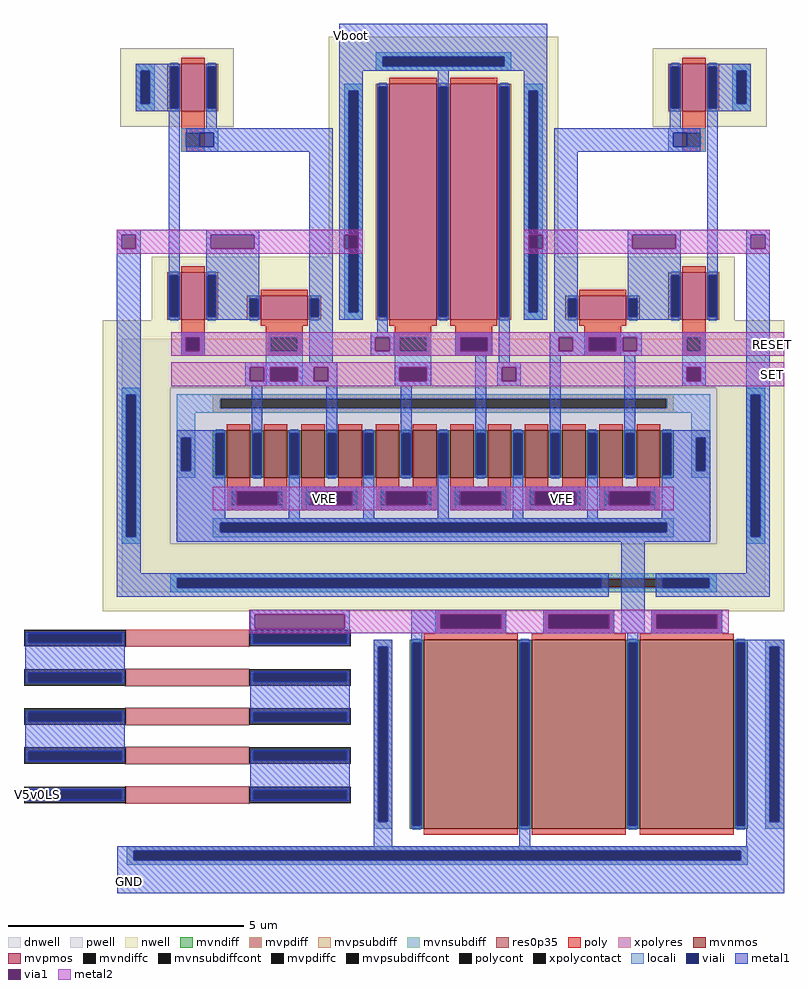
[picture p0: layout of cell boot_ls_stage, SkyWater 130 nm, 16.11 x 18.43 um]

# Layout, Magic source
magic
tech sky130A
magscale 1 2
<< dnwell >>
rect -1364 -988 1364 86
<< nwell >>
rect -1370 986 -888 1318
rect -487 434 487 1368
rect 888 986 1370 1318
rect -1236 166 1236 434
rect -1444 -120 1444 166
rect -1444 -782 -1158 -120
rect 1158 -782 1444 -120
rect -1444 -1068 1444 -782
<< pwell >>
rect -1158 -782 1158 -120
<< mvnmos >>
rect -919 -502 -819 -302
rect -761 -502 -661 -302
rect -603 -502 -503 -302
rect -445 -502 -345 -302
rect -287 -502 -187 -302
rect -129 -502 -29 -302
rect 29 -502 129 -302
rect 187 -502 287 -302
rect 345 -502 445 -302
rect 503 -502 603 -302
rect 661 -502 761 -302
rect 819 -502 919 -302
rect -84 -1990 316 -1190
rect 374 -1990 774 -1190
rect 832 -1990 1232 -1190
<< mvpmos >>
rect -1112 1052 -1012 1252
rect -1112 168 -1012 368
rect -775 168 -575 268
rect -229 168 -29 1168
rect 29 168 229 1168
rect 1012 1052 1112 1252
rect 575 168 775 268
rect 1012 168 1112 368
<< mvndiff >>
rect -977 -314 -919 -302
rect -977 -490 -965 -314
rect -931 -490 -919 -314
rect -977 -502 -919 -490
rect -819 -314 -761 -302
rect -819 -490 -807 -314
rect -773 -490 -761 -314
rect -819 -502 -761 -490
rect -661 -314 -603 -302
rect -661 -490 -649 -314
rect -615 -490 -603 -314
rect -661 -502 -603 -490
rect -503 -314 -445 -302
rect -503 -490 -491 -314
rect -457 -490 -445 -314
rect -503 -502 -445 -490
rect -345 -314 -287 -302
rect -345 -490 -333 -314
rect -299 -490 -287 -314
rect -345 -502 -287 -490
rect -187 -314 -129 -302
rect -187 -490 -175 -314
rect -141 -490 -129 -314
rect -187 -502 -129 -490
rect -29 -314 29 -302
rect -29 -490 -17 -314
rect 17 -490 29 -314
rect -29 -502 29 -490
rect 129 -314 187 -302
rect 129 -490 141 -314
rect 175 -490 187 -314
rect 129 -502 187 -490
rect 287 -314 345 -302
rect 287 -490 299 -314
rect 333 -490 345 -314
rect 287 -502 345 -490
rect 445 -314 503 -302
rect 445 -490 457 -314
rect 491 -490 503 -314
rect 445 -502 503 -490
rect 603 -314 661 -302
rect 603 -490 615 -314
rect 649 -490 661 -314
rect 603 -502 661 -490
rect 761 -314 819 -302
rect 761 -490 773 -314
rect 807 -490 819 -314
rect 761 -502 819 -490
rect 919 -314 977 -302
rect 919 -490 931 -314
rect 965 -490 977 -314
rect 919 -502 977 -490
rect -142 -1202 -84 -1190
rect -142 -1978 -130 -1202
rect -96 -1978 -84 -1202
rect -142 -1990 -84 -1978
rect 316 -1202 374 -1190
rect 316 -1978 328 -1202
rect 362 -1978 374 -1202
rect 316 -1990 374 -1978
rect 774 -1202 832 -1190
rect 774 -1978 786 -1202
rect 820 -1978 832 -1202
rect 774 -1990 832 -1978
rect 1232 -1202 1290 -1190
rect 1232 -1978 1244 -1202
rect 1278 -1978 1290 -1202
rect 1232 -1990 1290 -1978
<< mvpdiff >>
rect -1170 1240 -1112 1252
rect -1170 1064 -1158 1240
rect -1124 1064 -1112 1240
rect -1170 1052 -1112 1064
rect -1012 1240 -954 1252
rect -1012 1064 -1000 1240
rect -966 1064 -954 1240
rect 954 1240 1012 1252
rect -1012 1052 -954 1064
rect -1170 356 -1112 368
rect -1170 180 -1158 356
rect -1124 180 -1112 356
rect -1170 168 -1112 180
rect -1012 356 -954 368
rect -1012 180 -1000 356
rect -966 180 -954 356
rect -1012 168 -954 180
rect -833 256 -775 268
rect -833 180 -821 256
rect -787 180 -775 256
rect -833 168 -775 180
rect -575 256 -517 268
rect -575 180 -563 256
rect -529 180 -517 256
rect -575 168 -517 180
rect -287 1156 -229 1168
rect -287 180 -275 1156
rect -241 180 -229 1156
rect -287 168 -229 180
rect -29 1156 29 1168
rect -29 180 -17 1156
rect 17 180 29 1156
rect -29 168 29 180
rect 229 1156 287 1168
rect 229 180 241 1156
rect 275 180 287 1156
rect 229 168 287 180
rect 954 1064 966 1240
rect 1000 1064 1012 1240
rect 954 1052 1012 1064
rect 1112 1240 1170 1252
rect 1112 1064 1124 1240
rect 1158 1064 1170 1240
rect 1112 1052 1170 1064
rect 954 356 1012 368
rect 517 256 575 268
rect 517 180 529 256
rect 563 180 575 256
rect 517 168 575 180
rect 775 256 833 268
rect 775 180 787 256
rect 821 180 833 256
rect 775 168 833 180
rect 954 180 966 356
rect 1000 180 1012 356
rect 954 168 1012 180
rect 1112 356 1170 368
rect 1112 180 1124 356
rect 1158 180 1170 356
rect 1112 168 1170 180
<< mvndiffc >>
rect -965 -490 -931 -314
rect -807 -490 -773 -314
rect -649 -490 -615 -314
rect -491 -490 -457 -314
rect -333 -490 -299 -314
rect -175 -490 -141 -314
rect -17 -490 17 -314
rect 141 -490 175 -314
rect 299 -490 333 -314
rect 457 -490 491 -314
rect 615 -490 649 -314
rect 773 -490 807 -314
rect 931 -490 965 -314
rect -130 -1978 -96 -1202
rect 328 -1978 362 -1202
rect 786 -1978 820 -1202
rect 1244 -1978 1278 -1202
<< mvpdiffc >>
rect -1158 1064 -1124 1240
rect -1000 1064 -966 1240
rect -1158 180 -1124 356
rect -1000 180 -966 356
rect -821 180 -787 256
rect -563 180 -529 256
rect -275 180 -241 1156
rect -17 180 17 1156
rect 241 180 275 1156
rect 966 1064 1000 1240
rect 1124 1064 1158 1240
rect 529 180 563 256
rect 787 180 821 256
rect 966 180 1000 356
rect 1124 180 1158 356
<< mvpsubdiff >>
rect -977 -168 977 -148
rect -977 -208 -947 -168
rect 947 -208 977 -168
rect -977 -228 977 -208
rect -1131 -332 -1051 -302
rect -1131 -472 -1111 -332
rect -1071 -472 -1051 -332
rect -1131 -502 -1051 -472
rect 1051 -332 1131 -302
rect 1051 -472 1071 -332
rect 1111 -472 1131 -332
rect 1051 -502 1131 -472
rect -977 -694 977 -674
rect -977 -734 -947 -694
rect 947 -734 977 -694
rect -977 -754 977 -734
rect -296 -1220 -216 -1190
rect -296 -1960 -276 -1220
rect -236 -1960 -216 -1220
rect -296 -1990 -216 -1960
rect 1364 -1220 1444 -1190
rect 1364 -1960 1384 -1220
rect 1424 -1960 1444 -1220
rect 1364 -1990 1444 -1960
rect -1342 -2084 1290 -2064
rect -1342 -2124 -1312 -2084
rect 1260 -2124 1290 -2084
rect -1342 -2144 1290 -2124
<< mvnsubdiff >>
rect -287 1282 287 1302
rect -1304 1222 -1224 1252
rect -1304 1082 -1284 1222
rect -1244 1082 -1224 1222
rect -1304 1052 -1224 1082
rect -287 1242 -257 1282
rect 257 1242 287 1282
rect -287 1222 287 1242
rect -421 1138 -341 1168
rect -421 198 -401 1138
rect -361 198 -341 1138
rect -421 168 -341 198
rect 341 1138 421 1168
rect 341 198 361 1138
rect 401 198 421 1138
rect 1224 1222 1304 1252
rect 1224 1082 1244 1222
rect 1284 1082 1304 1222
rect 1224 1052 1304 1082
rect 341 168 421 198
rect -1364 -150 -1284 -120
rect -1364 -752 -1344 -150
rect -1304 -752 -1284 -150
rect 1284 -150 1364 -120
rect -1364 -782 -1284 -752
rect 1284 -752 1304 -150
rect 1344 -752 1364 -150
rect 1284 -782 1364 -752
rect -1158 -928 1158 -908
rect -1158 -968 -1128 -928
rect 1128 -968 1158 -928
rect -1158 -988 1158 -968
<< mvpsubdiffcont >>
rect -947 -208 947 -168
rect -1111 -472 -1071 -332
rect 1071 -472 1111 -332
rect -947 -734 947 -694
rect -276 -1960 -236 -1220
rect 1384 -1960 1424 -1220
rect -1312 -2124 1260 -2084
<< mvnsubdiffcont >>
rect -1284 1082 -1244 1222
rect -257 1242 257 1282
rect -401 198 -361 1138
rect 361 198 401 1138
rect 1244 1082 1284 1222
rect -1344 -752 -1304 -150
rect 1304 -752 1344 -150
rect -1128 -968 1128 -928
<< poly >>
rect -1112 1252 -1012 1278
rect 1012 1252 1112 1278
rect -229 1168 -29 1194
rect 29 1168 229 1194
rect -1112 960 -1012 1052
rect -1112 900 -1092 960
rect -1032 900 -1012 960
rect -1112 880 -1012 900
rect -1112 368 -1012 394
rect -775 268 -575 294
rect 1012 960 1112 1052
rect 1012 900 1032 960
rect 1092 900 1112 960
rect 1012 880 1112 900
rect 1012 368 1112 394
rect 575 268 775 294
rect -1112 94 -1012 168
rect -775 142 -575 168
rect -229 142 -29 168
rect 29 142 229 168
rect 575 142 775 168
rect -1112 34 -1092 94
rect -1032 34 -1012 94
rect -1112 14 -1012 34
rect -753 94 -597 142
rect -753 34 -733 94
rect -617 34 -597 94
rect -753 14 -597 34
rect -207 94 -51 142
rect -207 34 -187 94
rect -71 34 -51 94
rect -207 14 -51 34
rect 51 94 207 142
rect 51 34 71 94
rect 187 34 207 94
rect 51 14 207 34
rect 597 94 753 142
rect 597 34 617 94
rect 733 34 753 94
rect 597 14 753 34
rect 1012 94 1112 168
rect 1012 34 1032 94
rect 1092 34 1112 94
rect 1012 14 1112 34
rect -919 -302 -819 -276
rect -761 -302 -661 -276
rect -603 -302 -503 -276
rect -445 -302 -345 -276
rect -287 -302 -187 -276
rect -129 -302 -29 -276
rect 29 -302 129 -276
rect 187 -302 287 -276
rect 345 -302 445 -276
rect 503 -302 603 -276
rect 661 -302 761 -276
rect 819 -302 919 -276
rect -919 -540 -819 -502
rect -761 -540 -661 -502
rect -919 -560 -661 -540
rect -919 -620 -899 -560
rect -681 -620 -661 -560
rect -919 -640 -661 -620
rect -603 -540 -503 -502
rect -445 -540 -345 -502
rect -603 -560 -345 -540
rect -603 -620 -583 -560
rect -365 -620 -345 -560
rect -603 -640 -345 -620
rect -287 -540 -187 -502
rect -129 -540 -29 -502
rect -287 -560 -29 -540
rect -287 -620 -267 -560
rect -49 -620 -29 -560
rect -287 -640 -29 -620
rect 29 -540 129 -502
rect 187 -540 287 -502
rect 29 -560 287 -540
rect 29 -620 49 -560
rect 267 -620 287 -560
rect 29 -640 287 -620
rect 345 -540 445 -502
rect 503 -540 603 -502
rect 345 -560 603 -540
rect 345 -620 365 -560
rect 583 -620 603 -560
rect 345 -640 603 -620
rect 661 -540 761 -502
rect 819 -540 919 -502
rect 661 -560 919 -540
rect 661 -620 681 -560
rect 899 -620 919 -560
rect 661 -640 919 -620
rect -34 -1082 266 -1062
rect -34 -1142 -14 -1082
rect 246 -1142 266 -1082
rect -34 -1164 266 -1142
rect 424 -1082 724 -1062
rect 424 -1142 444 -1082
rect 704 -1142 724 -1082
rect 424 -1164 724 -1142
rect 882 -1082 1182 -1062
rect 882 -1142 902 -1082
rect 1162 -1142 1182 -1082
rect 882 -1164 1182 -1142
rect -84 -1190 316 -1164
rect 374 -1190 774 -1164
rect 832 -1190 1232 -1164
rect -84 -2016 316 -1990
rect 374 -2016 774 -1990
rect 832 -2016 1232 -1990
<< polycont >>
rect -1092 900 -1032 960
rect 1032 900 1092 960
rect -1092 34 -1032 94
rect -733 34 -617 94
rect -187 34 -71 94
rect 71 34 187 94
rect 617 34 733 94
rect 1032 34 1092 94
rect -899 -620 -681 -560
rect -583 -620 -365 -560
rect -267 -620 -49 -560
rect 49 -620 267 -560
rect 365 -620 583 -560
rect 681 -620 899 -560
rect -14 -1142 246 -1082
rect 444 -1142 704 -1082
rect 902 -1142 1162 -1082
<< xpolycontact >>
rect -1778 -1218 -1346 -1148
rect -824 -1218 -392 -1148
rect -1778 -1384 -1346 -1314
rect -824 -1384 -392 -1314
rect -1778 -1550 -1346 -1480
rect -824 -1550 -392 -1480
rect -1778 -1716 -1346 -1646
rect -824 -1716 -392 -1646
rect -1778 -1882 -1346 -1812
rect -824 -1882 -392 -1812
<< xpolyres >>
rect -1346 -1218 -824 -1148
rect -1346 -1384 -824 -1314
rect -1346 -1550 -824 -1480
rect -1346 -1716 -824 -1646
rect -1346 -1882 -824 -1812
<< locali >>
rect -287 1282 287 1302
rect -1304 1222 -1224 1252
rect -1304 1082 -1284 1222
rect -1244 1082 -1224 1222
rect -1304 1052 -1224 1082
rect -1158 1240 -1124 1256
rect -1158 1048 -1124 1064
rect -1000 1240 -966 1256
rect -287 1242 -257 1282
rect 257 1242 287 1282
rect -287 1222 287 1242
rect 966 1240 1000 1256
rect -1000 1048 -966 1064
rect -421 1138 -341 1168
rect -1112 960 -954 980
rect -1112 900 -1092 960
rect -974 900 -954 960
rect -1112 880 -954 900
rect -1158 356 -1124 372
rect -1158 164 -1124 180
rect -1000 356 -966 372
rect -1000 164 -966 180
rect -821 256 -787 272
rect -821 164 -787 180
rect -563 256 -529 272
rect -563 164 -529 180
rect -421 198 -401 1138
rect -361 198 -341 1138
rect -421 168 -341 198
rect -275 1156 -241 1172
rect -275 164 -241 180
rect -17 1156 17 1172
rect -17 164 17 180
rect 241 1156 275 1172
rect 241 164 275 180
rect 341 1138 421 1168
rect 341 198 361 1138
rect 401 198 421 1138
rect 966 1048 1000 1064
rect 1124 1240 1158 1256
rect 1124 1048 1158 1064
rect 1224 1222 1304 1252
rect 1224 1082 1244 1222
rect 1284 1082 1304 1222
rect 1224 1052 1304 1082
rect 954 960 1112 980
rect 954 900 974 960
rect 1092 900 1112 960
rect 954 880 1112 900
rect 966 356 1000 372
rect 341 168 421 198
rect 529 256 563 272
rect 529 164 563 180
rect 787 256 821 272
rect 787 164 821 180
rect 966 164 1000 180
rect 1124 356 1158 372
rect 1124 164 1158 180
rect -1112 94 -1012 114
rect -1112 34 -1092 94
rect -1032 34 -1012 94
rect -1112 14 -1012 34
rect -753 94 -597 114
rect -753 34 -733 94
rect -617 34 -597 94
rect -753 -34 -597 34
rect -753 -94 -733 -34
rect -617 -94 -597 -34
rect -753 -114 -597 -94
rect -207 94 -51 114
rect -207 34 -187 94
rect -71 34 -51 94
rect -207 -34 -51 34
rect 51 94 207 114
rect 51 34 71 94
rect 187 34 207 94
rect 51 14 207 34
rect 597 94 753 114
rect 597 34 617 94
rect 733 34 753 94
rect 597 14 753 34
rect 1012 94 1112 114
rect 1012 34 1032 94
rect 1092 34 1112 94
rect -207 -94 -187 -34
rect -71 -94 -51 -34
rect -207 -114 -51 -94
rect 1012 -34 1112 34
rect 1012 -94 1032 -34
rect 1092 -94 1112 -34
rect 1012 -114 1112 -94
rect -1364 -150 -1284 -120
rect -1364 -752 -1344 -150
rect -1304 -752 -1284 -150
rect -1131 -168 1131 -148
rect -1131 -208 -947 -168
rect 947 -208 1131 -168
rect -1131 -228 1131 -208
rect -1131 -332 -1051 -228
rect -1131 -472 -1111 -332
rect -1071 -472 -1051 -332
rect -1131 -502 -1051 -472
rect -965 -314 -931 -298
rect -965 -506 -931 -490
rect -807 -314 -773 -298
rect -807 -506 -773 -490
rect -649 -314 -615 -298
rect -649 -506 -615 -490
rect -491 -314 -457 -298
rect -491 -506 -457 -490
rect -333 -314 -299 -298
rect -333 -506 -299 -490
rect -175 -314 -141 -298
rect -175 -506 -141 -490
rect -17 -314 17 -298
rect -17 -506 17 -490
rect 141 -314 175 -298
rect 141 -506 175 -490
rect 299 -314 333 -298
rect 299 -506 333 -490
rect 457 -314 491 -298
rect 457 -506 491 -490
rect 615 -314 649 -298
rect 615 -506 649 -490
rect 773 -314 807 -298
rect 773 -506 807 -490
rect 931 -314 965 -298
rect 931 -506 965 -490
rect 1051 -332 1131 -228
rect 1051 -472 1071 -332
rect 1111 -472 1131 -332
rect 1051 -502 1131 -472
rect 1284 -150 1364 -120
rect -919 -560 -661 -540
rect -919 -620 -899 -560
rect -681 -620 -661 -560
rect -919 -640 -661 -620
rect -603 -560 -345 -540
rect -603 -620 -583 -560
rect -365 -620 -345 -560
rect -603 -640 -345 -620
rect -287 -560 -29 -540
rect -287 -620 -267 -560
rect -49 -620 -29 -560
rect -287 -640 -29 -620
rect 29 -560 287 -540
rect 29 -620 49 -560
rect 267 -620 287 -560
rect 29 -640 287 -620
rect 345 -560 603 -540
rect 345 -620 365 -560
rect 583 -620 603 -560
rect 345 -640 603 -620
rect 661 -560 919 -540
rect 661 -620 681 -560
rect 899 -620 919 -560
rect 661 -640 919 -620
rect -1364 -782 -1284 -752
rect -977 -694 977 -674
rect -977 -734 -947 -694
rect 947 -734 977 -694
rect -977 -754 977 -734
rect 1284 -752 1304 -150
rect 1344 -752 1364 -150
rect 1284 -782 1364 -752
rect -1158 -928 1158 -908
rect -1158 -968 -1128 -928
rect 1128 -968 1158 -928
rect -1158 -988 1158 -968
rect -34 -1082 266 -1062
rect -34 -1142 -14 -1082
rect 246 -1142 266 -1082
rect -34 -1162 266 -1142
rect 424 -1082 724 -1062
rect 424 -1142 444 -1082
rect 704 -1142 724 -1082
rect 424 -1162 724 -1142
rect 882 -1082 1182 -1062
rect 882 -1142 902 -1082
rect 1162 -1142 1182 -1082
rect 882 -1162 1182 -1142
rect -296 -1220 -216 -1190
rect -296 -1960 -276 -1220
rect -236 -1960 -216 -1220
rect -296 -1990 -216 -1960
rect -130 -1202 -96 -1186
rect -130 -1994 -96 -1978
rect 328 -1202 362 -1186
rect 328 -1994 362 -1978
rect 786 -1202 820 -1186
rect 786 -1994 820 -1978
rect 1244 -1202 1278 -1186
rect 1244 -1994 1278 -1978
rect 1364 -1220 1444 -1190
rect 1364 -1960 1384 -1220
rect 1424 -1960 1444 -1220
rect 1364 -1990 1444 -1960
rect -1342 -2084 1290 -2064
rect -1342 -2124 -1312 -2084
rect 1260 -2124 1290 -2084
rect -1342 -2144 1290 -2124
<< viali >>
rect -1284 1082 -1244 1222
rect -1158 1064 -1124 1240
rect -1000 1064 -966 1240
rect -257 1242 257 1282
rect -1034 900 -1032 960
rect -1032 900 -974 960
rect -1158 180 -1124 356
rect -1000 180 -966 356
rect -821 180 -787 256
rect -563 180 -529 256
rect -401 198 -361 1138
rect -275 180 -241 1156
rect -17 180 17 1156
rect 241 180 275 1156
rect 361 198 401 1138
rect 966 1064 1000 1240
rect 1124 1064 1158 1240
rect 1244 1082 1284 1222
rect 974 900 1032 960
rect 1032 900 1034 960
rect 529 180 563 256
rect 787 180 821 256
rect 966 180 1000 356
rect 1124 180 1158 356
rect -1092 34 -1032 94
rect -733 -94 -617 -34
rect 71 34 187 94
rect 617 34 733 94
rect -187 -94 -71 -34
rect 1032 -94 1092 -34
rect -1344 -752 -1304 -150
rect -1111 -472 -1071 -332
rect -965 -490 -931 -314
rect -807 -490 -773 -314
rect -649 -490 -615 -314
rect -491 -490 -457 -314
rect -333 -490 -299 -314
rect -175 -490 -141 -314
rect -17 -490 17 -314
rect 141 -490 175 -314
rect 299 -490 333 -314
rect 457 -490 491 -314
rect 615 -490 649 -314
rect 773 -490 807 -314
rect 931 -490 965 -314
rect 1071 -472 1111 -332
rect -877 -620 -703 -560
rect -561 -620 -387 -560
rect -245 -620 -71 -560
rect 71 -620 245 -560
rect 387 -620 561 -560
rect 703 -620 877 -560
rect -947 -734 947 -694
rect 1304 -752 1344 -150
rect -1128 -968 670 -928
rect 930 -968 1128 -928
rect -14 -1142 246 -1082
rect -1760 -1202 -1363 -1164
rect 444 -1142 704 -1082
rect 902 -1142 1162 -1082
rect -807 -1202 -410 -1164
rect -1760 -1368 -1363 -1330
rect -807 -1368 -410 -1330
rect -1760 -1534 -1363 -1496
rect -807 -1534 -410 -1496
rect -1760 -1700 -1363 -1662
rect -807 -1700 -410 -1662
rect -1760 -1866 -1363 -1828
rect -807 -1866 -410 -1828
rect -276 -1960 -236 -1220
rect -130 -1978 -96 -1202
rect 328 -1978 362 -1202
rect 786 -1978 820 -1202
rect 1244 -1978 1278 -1202
rect 1384 -1960 1424 -1220
rect -1312 -2124 1260 -2084
<< metal1 >>
rect -441 1282 441 1422
rect -1304 1240 -1118 1252
rect -1304 1222 -1158 1240
rect -1304 1082 -1284 1222
rect -1244 1082 -1158 1222
rect -1304 1064 -1158 1082
rect -1124 1064 -1118 1240
rect -1304 1052 -1118 1064
rect -1384 528 -1284 548
rect -1384 468 -1364 528
rect -1304 468 -1284 528
rect -1384 -150 -1284 468
rect -1164 356 -1118 1052
rect -1006 1240 -960 1252
rect -1006 1064 -1000 1240
rect -966 1064 -960 1240
rect -1006 980 -960 1064
rect -441 1242 -257 1282
rect 257 1242 441 1282
rect -441 1222 441 1242
rect -441 1138 -341 1222
rect -1090 960 -469 980
rect -1090 900 -1034 960
rect -974 900 -469 960
rect -1090 880 -469 900
rect -1164 180 -1158 356
rect -1124 180 -1118 356
rect -1164 168 -1118 180
rect -1006 528 -781 548
rect -1006 468 -986 528
rect -801 468 -781 528
rect -1006 356 -781 468
rect -1006 180 -1000 356
rect -966 256 -781 356
rect -966 180 -821 256
rect -787 180 -781 256
rect -1006 168 -781 180
rect -569 256 -469 880
rect -569 180 -563 256
rect -529 180 -469 256
rect -1112 94 -1012 114
rect -1112 34 -1092 94
rect -1032 34 -1012 94
rect -1112 14 -1012 34
rect -569 -14 -469 180
rect -441 528 -401 1138
rect -441 468 -421 528
rect -441 198 -401 468
rect -361 198 -341 1138
rect -441 168 -341 198
rect -281 1156 -235 1168
rect -281 180 -275 1156
rect -241 180 -235 1156
rect -281 114 -235 180
rect -23 1156 23 1222
rect -23 180 -17 1156
rect 17 180 23 1156
rect -23 168 23 180
rect 235 1156 281 1168
rect 235 180 241 1156
rect 275 180 281 1156
rect -308 94 -208 114
rect -308 34 -288 94
rect -228 34 -208 94
rect -308 14 -208 34
rect 51 94 207 114
rect 51 34 71 94
rect 187 34 207 94
rect 51 14 207 34
rect -840 -34 -451 -14
rect -840 -94 -820 -34
rect -760 -94 -733 -34
rect -617 -94 -549 -34
rect -489 -94 -451 -34
rect -840 -114 -451 -94
rect -207 -34 -51 -14
rect -207 -94 -187 -34
rect -71 -94 -51 -34
rect -207 -114 -51 -94
rect -1384 -752 -1344 -150
rect -1304 -752 -1284 -150
rect -1384 -908 -1284 -752
rect -1131 -314 -925 -302
rect -1131 -332 -965 -314
rect -1131 -472 -1111 -332
rect -1071 -472 -965 -332
rect -1131 -490 -965 -472
rect -931 -490 -925 -314
rect -1131 -674 -925 -490
rect -813 -314 -767 -114
rect -813 -490 -807 -314
rect -773 -490 -767 -314
rect -813 -502 -767 -490
rect -655 -314 -609 -302
rect -655 -490 -649 -314
rect -615 -490 -609 -314
rect -897 -560 -683 -540
rect -897 -620 -877 -560
rect -703 -620 -683 -560
rect -897 -640 -683 -620
rect -655 -674 -609 -490
rect -497 -314 -451 -114
rect -497 -490 -491 -314
rect -457 -490 -451 -314
rect -497 -502 -451 -490
rect -339 -314 -293 -302
rect -339 -490 -333 -314
rect -299 -490 -293 -314
rect -581 -560 -367 -540
rect -581 -620 -561 -560
rect -387 -620 -367 -560
rect -581 -640 -367 -620
rect -339 -674 -293 -490
rect -181 -314 -135 -114
rect -181 -490 -175 -314
rect -141 -490 -135 -314
rect -181 -502 -135 -490
rect -23 -314 23 -302
rect -23 -490 -17 -314
rect 17 -490 23 -314
rect -265 -560 -51 -540
rect -265 -620 -245 -560
rect -71 -620 -51 -560
rect -265 -640 -51 -620
rect -23 -674 23 -490
rect 135 -314 181 14
rect 235 -14 281 180
rect 341 1138 441 1222
rect 341 198 361 1138
rect 401 528 441 1138
rect 960 1240 1006 1252
rect 960 1064 966 1240
rect 1000 1064 1006 1240
rect 960 980 1006 1064
rect 1118 1240 1304 1252
rect 1118 1064 1124 1240
rect 1158 1222 1304 1240
rect 1158 1082 1244 1222
rect 1284 1082 1304 1222
rect 1158 1064 1304 1082
rect 1118 1052 1304 1064
rect 421 468 441 528
rect 401 198 441 468
rect 341 168 441 198
rect 469 960 1090 980
rect 469 900 974 960
rect 1034 900 1090 960
rect 469 880 1090 900
rect 469 256 569 880
rect 469 180 529 256
rect 563 180 569 256
rect 469 114 569 180
rect 781 528 1006 548
rect 781 468 801 528
rect 986 468 1006 528
rect 781 356 1006 468
rect 781 256 966 356
rect 781 180 787 256
rect 821 180 966 256
rect 1000 180 1006 356
rect 781 168 1006 180
rect 1118 356 1164 1052
rect 1118 180 1124 356
rect 1158 180 1164 356
rect 1118 168 1164 180
rect 1284 528 1384 548
rect 1284 468 1304 528
rect 1364 468 1384 528
rect 451 94 840 114
rect 451 34 489 94
rect 549 34 617 94
rect 733 34 760 94
rect 820 34 840 94
rect 451 14 840 34
rect 228 -34 328 -14
rect 228 -94 248 -34
rect 308 -94 328 -34
rect 228 -114 328 -94
rect 135 -490 141 -314
rect 175 -490 181 -314
rect 135 -502 181 -490
rect 293 -314 339 -302
rect 293 -490 299 -314
rect 333 -490 339 -314
rect 51 -560 265 -540
rect 51 -620 71 -560
rect 245 -620 265 -560
rect 51 -640 265 -620
rect 293 -674 339 -490
rect 451 -314 497 14
rect 451 -490 457 -314
rect 491 -490 497 -314
rect 451 -502 497 -490
rect 609 -314 655 -302
rect 609 -490 615 -314
rect 649 -490 655 -314
rect 367 -560 581 -540
rect 367 -620 387 -560
rect 561 -620 581 -560
rect 367 -640 581 -620
rect 609 -674 655 -490
rect 767 -314 813 14
rect 1012 -34 1112 -14
rect 1012 -94 1032 -34
rect 1092 -94 1112 -34
rect 1012 -114 1112 -94
rect 1284 -150 1384 468
rect 767 -490 773 -314
rect 807 -490 813 -314
rect 767 -502 813 -490
rect 925 -314 1131 -302
rect 925 -490 931 -314
rect 965 -332 1131 -314
rect 965 -472 1071 -332
rect 1111 -472 1131 -332
rect 965 -490 1131 -472
rect 683 -560 897 -540
rect 683 -620 703 -560
rect 877 -620 897 -560
rect 683 -640 897 -620
rect 925 -674 1131 -490
rect -1131 -694 1131 -674
rect -1131 -734 -947 -694
rect 947 -734 1131 -694
rect -1131 -774 1131 -734
rect 1284 -752 1304 -150
rect 1344 -752 1384 -150
rect -1384 -928 700 -908
rect -1384 -968 -1128 -928
rect 670 -968 700 -928
rect -1384 -1008 700 -968
rect -819 -1082 -398 -1062
rect -819 -1142 -799 -1082
rect -418 -1142 -398 -1082
rect -1772 -1164 -1351 -1158
rect -1772 -1202 -1760 -1164
rect -1363 -1202 -1351 -1164
rect -1772 -1330 -1351 -1202
rect -819 -1164 -398 -1142
rect -819 -1202 -807 -1164
rect -410 -1202 -398 -1164
rect -136 -1082 266 -1062
rect -136 -1142 -14 -1082
rect 246 -1142 266 -1082
rect -136 -1162 266 -1142
rect 424 -1082 724 -1062
rect 424 -1142 444 -1082
rect 704 -1142 724 -1082
rect 424 -1162 724 -1142
rect 753 -1162 853 -774
rect 1284 -908 1384 -752
rect 900 -928 1384 -908
rect 900 -968 930 -928
rect 1128 -968 1384 -928
rect 900 -1008 1384 -968
rect 882 -1082 1182 -1062
rect 882 -1142 902 -1082
rect 1162 -1142 1182 -1082
rect 882 -1162 1182 -1142
rect -819 -1208 -398 -1202
rect -296 -1220 -216 -1190
rect -1772 -1368 -1760 -1330
rect -1363 -1368 -1351 -1330
rect -1772 -1374 -1351 -1368
rect -819 -1330 -398 -1324
rect -819 -1368 -807 -1330
rect -410 -1368 -398 -1330
rect -1772 -1496 -1351 -1490
rect -1772 -1534 -1760 -1496
rect -1363 -1534 -1351 -1496
rect -1772 -1662 -1351 -1534
rect -819 -1496 -398 -1368
rect -819 -1534 -807 -1496
rect -410 -1534 -398 -1496
rect -819 -1540 -398 -1534
rect -1772 -1700 -1760 -1662
rect -1363 -1700 -1351 -1662
rect -1772 -1706 -1351 -1700
rect -819 -1662 -398 -1656
rect -819 -1700 -807 -1662
rect -410 -1700 -398 -1662
rect -1772 -1828 -1351 -1822
rect -1772 -1866 -1760 -1828
rect -1363 -1866 -1351 -1828
rect -1772 -1872 -1351 -1866
rect -819 -1828 -398 -1700
rect -819 -1866 -807 -1828
rect -410 -1866 -398 -1828
rect -819 -1872 -398 -1866
rect -296 -1960 -276 -1220
rect -236 -1960 -216 -1220
rect -296 -2064 -216 -1960
rect -136 -1202 -90 -1162
rect -136 -1978 -130 -1202
rect -96 -1978 -90 -1202
rect -136 -1990 -90 -1978
rect 322 -1202 368 -1190
rect 322 -1978 328 -1202
rect 362 -1978 368 -1202
rect 322 -2064 368 -1978
rect 780 -1202 826 -1162
rect 780 -1978 786 -1202
rect 820 -1978 826 -1202
rect 780 -1990 826 -1978
rect 1238 -1202 1444 -1190
rect 1238 -1978 1244 -1202
rect 1278 -1220 1444 -1202
rect 1278 -1960 1384 -1220
rect 1424 -1960 1444 -1220
rect 1278 -1978 1444 -1960
rect 1238 -1990 1444 -1978
rect 1284 -2064 1444 -1990
rect -1382 -2084 1444 -2064
rect -1382 -2124 -1312 -2084
rect 1260 -2124 1444 -2084
rect -1382 -2264 1444 -2124
<< via1 >>
rect -1364 468 -1304 528
rect -986 468 -801 528
rect -1092 34 -1032 94
rect -421 468 -401 528
rect -401 468 -361 528
rect -288 34 -228 94
rect 71 34 187 94
rect -820 -94 -760 -34
rect -733 -94 -617 -34
rect -549 -94 -489 -34
rect -187 -94 -71 -34
rect -877 -620 -703 -560
rect -561 -620 -387 -560
rect -245 -620 -71 -560
rect 361 468 401 528
rect 401 468 421 528
rect 801 468 986 528
rect 1304 468 1364 528
rect 489 34 549 94
rect 617 34 733 94
rect 760 34 820 94
rect 248 -94 308 -34
rect 71 -620 245 -560
rect 387 -620 561 -560
rect 1032 -94 1092 -34
rect 703 -620 877 -560
rect -799 -1142 -418 -1082
rect -14 -1142 246 -1082
rect 444 -1142 704 -1082
rect 902 -1142 1162 -1082
<< metal2 >>
rect -1384 528 -341 548
rect -1384 468 -1364 528
rect -1304 468 -986 528
rect -801 468 -421 528
rect -361 468 -341 528
rect -1384 448 -341 468
rect 341 528 1384 548
rect 341 468 361 528
rect 421 468 801 528
rect 986 468 1304 528
rect 1364 468 1384 528
rect 341 448 1384 468
rect -1154 94 1444 114
rect -1154 34 -1092 94
rect -1032 34 -288 94
rect -228 34 71 94
rect 187 34 489 94
rect 549 34 617 94
rect 733 34 760 94
rect 820 34 1444 94
rect -1154 14 1444 34
rect -1154 -34 1444 -14
rect -1154 -94 -820 -34
rect -760 -94 -733 -34
rect -617 -94 -549 -34
rect -489 -94 -187 -34
rect -71 -94 248 -34
rect 308 -94 1032 -34
rect 1092 -94 1444 -34
rect -1154 -114 1444 -94
rect -977 -560 -29 -540
rect -977 -620 -877 -560
rect -703 -620 -561 -560
rect -387 -620 -245 -560
rect -71 -620 -29 -560
rect -977 -640 -29 -620
rect 29 -560 977 -540
rect 29 -620 71 -560
rect 245 -620 387 -560
rect 561 -620 703 -560
rect 877 -620 977 -560
rect 29 -640 977 -620
rect -824 -1082 1210 -1062
rect -824 -1142 -799 -1082
rect -418 -1142 -14 -1082
rect 246 -1142 444 -1082
rect 704 -1142 902 -1082
rect 1162 -1142 1210 -1082
rect -824 -1162 1210 -1142
<< res0p35 >>
rect -1348 -1220 -822 -1146
rect -1348 -1386 -822 -1312
rect -1348 -1552 -822 -1478
rect -1348 -1718 -822 -1644
rect -1348 -1884 -822 -1810
<< labels >>
rlabel metal1 -441 1322 -341 1422 1 Vboot
rlabel metal2 1344 14 1444 114 3 RESET
rlabel metal2 1344 -114 1444 -14 3 SET
rlabel metal2 -977 -640 -29 -540 7 VRE
rlabel metal2 29 -640 977 -540 3 VFE
rlabel metal1 -1382 -2264 -1282 -2164 5 GND
rlabel metal1 -1772 -1872 -1672 -1822 7 V5v0LS
<< end >>
